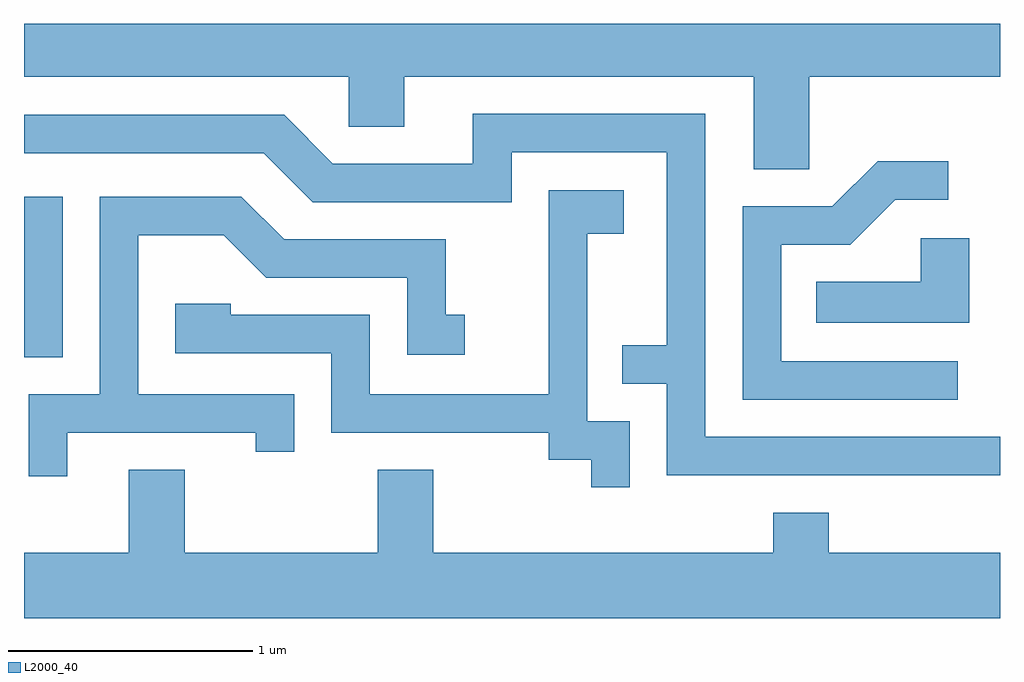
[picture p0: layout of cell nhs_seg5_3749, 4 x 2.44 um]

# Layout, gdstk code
import gdstk
lib = gdstk.Library(unit=1e-6, precision=1e-09)
def R(c, l, rs):  # rectangles x0, y0, x1, y1
    for r in rs: c.add(gdstk.rectangle(r[:2], r[2:], *l))
def P(c, l, *ps):  # polygons
    for p in ps: c.add(gdstk.Polygon(p, *l))
L2000_40 = (2000, 40)

nhs_seg5_3749 = lib.new_cell('nhs_seg5_3749')
R(nhs_seg5_3749, L2000_40, [(295.611,1506.706,295.769,1507.364)])
P(nhs_seg5_3749, L2000_40, [(298.829,1507.856),(299.611,1507.856),(299.611,1508.072),(295.611,1508.072),(295.611,1507.856),(296.941,1507.856),(296.941,1507.651),(297.169,1507.651),(297.169,1507.856),(298.601,1507.856),(298.601,1507.476),(298.829,1507.476)],
  [(299.611,1506.379),(298.404,1506.379),(298.404,1507.704),(297.451,1507.704),(297.451,1507.499),(296.877,1507.499),(296.677,1507.699),(295.611,1507.699),(295.611,1507.541),(296.594,1507.541),(296.794,1507.341),(297.609,1507.341),(297.609,1507.546),(298.246,1507.546),(298.246,1506.754),(298.063,1506.754),(298.063,1506.596),(298.246,1506.596),(298.246,1506.221),(299.611,1506.221)],
  [(299.438,1506.689),(298.714,1506.689),(298.714,1507.166),(298.997,1507.166),(299.182,1507.351),(299.398,1507.351),(299.398,1507.509),(299.109,1507.509),(298.924,1507.324),(298.556,1507.324),(298.556,1506.531),(299.438,1506.531)],
  [(298.094,1506.444),(297.919,1506.444),(297.919,1507.211),(298.069,1507.211),(298.069,1507.389),(297.761,1507.389),(297.761,1506.554),(297.029,1506.554),(297.029,1506.879),(296.459,1506.879),(296.459,1506.924),(296.231,1506.924),(296.231,1506.721),(296.871,1506.721),(296.871,1506.396),(297.761,1506.396),(297.761,1506.286),(297.936,1506.286),(297.936,1506.173),(298.094,1506.173)],
  [(295.789,1506.396),(296.561,1506.396),(296.561,1506.318),(296.719,1506.318),(296.719,1506.554),(296.079,1506.554),(296.079,1507.206),(296.429,1507.206),(296.604,1507.031),(297.181,1507.031),(297.181,1506.716),(297.418,1506.716),(297.418,1506.879),(297.339,1506.879),(297.339,1507.189),(296.677,1507.189),(296.502,1507.364),(295.921,1507.364),(295.921,1506.554),(295.631,1506.554),(295.631,1506.218),(295.789,1506.218)],
  [(299.484,1507.194),(299.286,1507.194),(299.286,1507.014),(298.858,1507.014),(298.858,1506.846),(299.484,1506.846)],
  [(299.611,1505.904),(298.909,1505.904),(298.909,1506.069),(298.681,1506.069),(298.681,1505.904),(297.289,1505.904),(297.289,1506.244),(297.061,1506.244),(297.061,1505.904),(296.269,1505.904),(296.269,1506.244),(296.041,1506.244),(296.041,1505.904),(295.611,1505.904),(295.611,1505.636),(299.611,1505.636)])

lib.write_gds('nhs_seg5_3749.gds')
